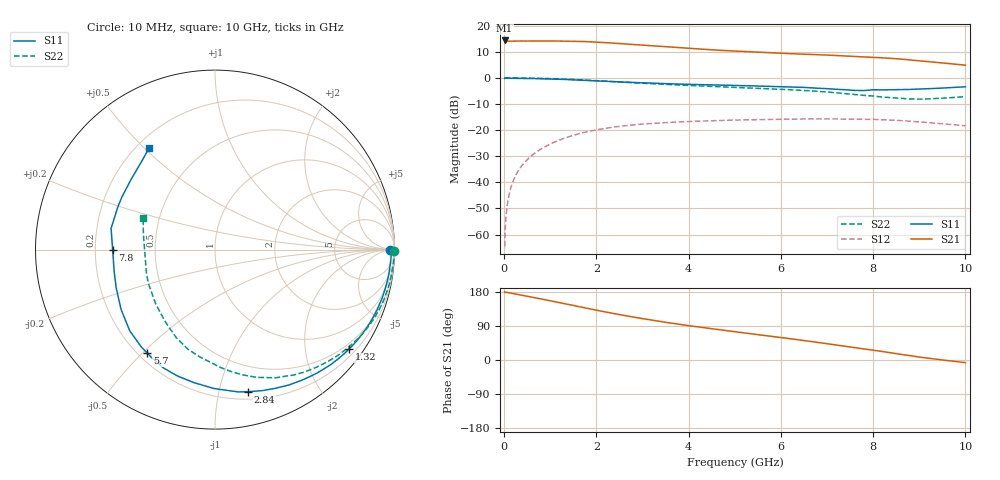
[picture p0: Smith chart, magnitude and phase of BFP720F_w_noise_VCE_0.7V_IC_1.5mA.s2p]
! Infineon Technologies  Discrete & RF Semiconductors
! BFP720F
! VCE =  0.7 V,  IC =  1.5 mA
! Common Emitter S-Parameters:  Jan 2016
# GHz  S  MA  R  50
!  f  S11  S21  S12  S22
! GHz  MAG  ANG  MAG  ANG  MAG  ANG  MAG  ANG
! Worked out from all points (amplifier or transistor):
!   233 points, 10 MHz to 10 GHz, reference 50 ohm
!   highest |S21| = 14.3 dB at 10 MHz (marker M1)
!   |S21| within 3 dB of that: start of sweep to 3.986 GHz
!   unconditionally stable (mu >= 1): start of sweep to 10.1 MHz
!   at 200 MHz: K = 0.01, MSG = 26.7 dB, |S12| = -39.3 dB
!   at 1.74 GHz: K = 0.14, MSG = 17.4 dB, |S12| = -20.9 dB
!   at 10 GHz: K = 0.86, MSG = 11.6 dB, |S12| = -18.4 dB
!   lowest NFmin = 0.44 dB at 450 MHz
!   S11 on the Smith chart (normalised r, x): 10 MHz: 79, -6; 1.32 GHz: 0.36, -2.98; 2.84 GHz: 0.26, -1.23; 5.7 GHz: 0.24, -0.52; 7.8 GHz: 0.27, -0.00; 10 GHz: 0.25, +0.51
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0.01  0.9752 -0.1  5.189 179.9  0.0006 3.1  0.9975 -0.4
0.015  0.9791 -0.3  5.074 179.1  0.0006 62.5  0.9987 -0.8
0.02  0.983 -0.4  4.959 178.3  0.0011 90.5  1 -1.1
0.04  0.9818 -1.1  4.991 178.5  0.0022 89.4  0.9985 -1.2
0.09  0.9816 -2.4  5.017 177.8  0.0049 88.2  0.9984 -2.0
0.17  0.9801 -4.5  5.034 175.9  0.0092 86.8  0.9977 -3.7
0.28  0.9783 -7.5  5.046 173.3  0.0152 84.8  0.9951 -6.1
0.8  0.9612 -21.8  5.092 161.2  0.0434 73.7  0.9793 -17.8
1.32  0.9299 -36.6  5.034 148.4  0.0706 62.1  0.9452 -29.9
1.68  0.9017 -47.0  4.973 139.3  0.0877 54.0  0.9131 -38.3
2.2  0.8597 -61.3  4.722 126.7  0.1085 42.5  0.8629 -49.8
2.84  0.8127 -76.8  4.32 112.5  0.1264 29.8  0.8017 -62.0
3.4  0.7786 -88.3  3.986 101.5  0.1371 20.3  0.7567 -70.3
4  0.7506 -98.9  3.667 90.6  0.1459 11.2  0.7156 -77.4
5.1  0.7137 -115.0  3.216 73.2  0.156 -3.4  0.6503 -88.5
5.7  0.6892 -123.1  3.027 63.9  0.1597 -10.8  0.6172 -94.7
6.8  0.6318 -142.9  2.767 46.4  0.1634 -25.0  0.5503 -110.2
7.4  0.5906 -158.7  2.617 36.3  0.1625 -33.1  0.4977 -122.0
7.8  0.5702 -179.7  2.519 29.5  0.1608 -38.6  0.4616 -132.0
8.4  0.5911 156.5  2.354 18.6  0.1552 -47.6  0.4169 -152.5
9  0.6093 140.2  2.126 7.7  0.1439 -56.5  0.391 -177.7
10  0.6732 123.2  1.745 -7.0  0.1208 -67.4  0.4375 156.1
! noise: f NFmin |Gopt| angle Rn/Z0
0.45  0.44  0.75  5  0.37
0.9  0.55  0.75  12  0.34
1.8  0.57  0.74  25  0.28
2.4  0.59  0.74  31  0.27
5.5  0.96  0.53  91  0.17
10  1.49  0.36  -141  0.14
